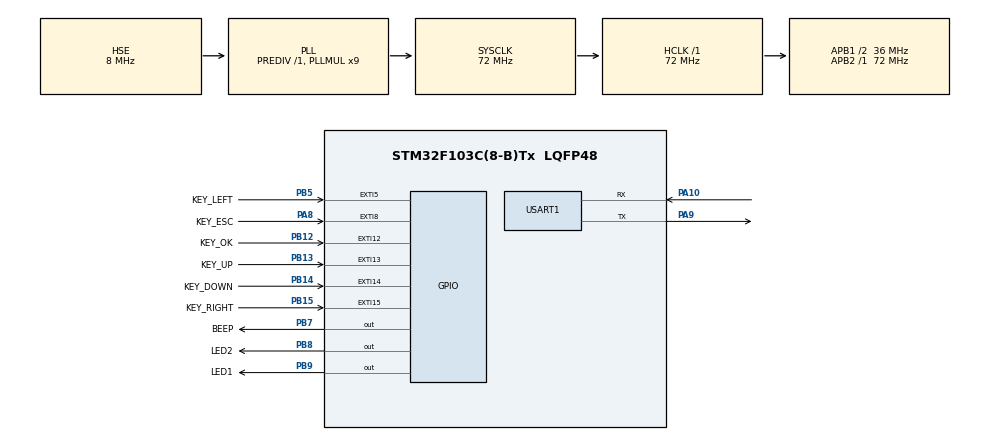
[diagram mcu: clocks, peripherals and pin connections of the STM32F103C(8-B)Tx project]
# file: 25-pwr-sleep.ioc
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Dma.Request0=USART1_RX
Dma.USART1_RX.0.Direction=DMA_PERIPH_TO_MEMORY
Dma.USART1_RX.0.Instance=DMA1_Channel5
Dma.USART1_RX.0.MemDataAlignment=DMA_MDATAALIGN_BYTE
Dma.USART1_RX.0.MemInc=DMA_MINC_ENABLE
Dma.USART1_RX.0.Mode=DMA_CIRCULAR
Dma.USART1_RX.0.PeriphDataAlignment=DMA_PDATAALIGN_BYTE
Dma.USART1_RX.0.PeriphInc=DMA_PINC_DISABLE
Dma.USART1_RX.0.Priority=DMA_PRIORITY_LOW
Mcu.Family=STM32F1
Mcu.Name=STM32F103C(8-B)Tx
Mcu.Package=LQFP48
NVIC.DMA1_Channel5_IRQn=true\:0\:0\:false\:false\:true\:false\:true\:true
NVIC.EXTI15_10_IRQn=true\:0\:0\:false\:false\:true\:true\:true\:true
NVIC.EXTI9_5_IRQn=true\:0\:0\:false\:false\:true\:true\:true\:true
NVIC.PriorityGroup=NVIC_PRIORITYGROUP_4
NVIC.USART1_IRQn=true\:0\:0\:false\:false\:true\:true\:true\:true
PA10.GPIO_PuPd=GPIO_PULLUP
PA10.Mode=Asynchronous
PA10.Signal=USART1_RX
PA8.GPIO_Label=KEY_ESC
PA8.GPIO_ModeDefaultEXTI=GPIO_MODE_IT_FALLING
PA8.GPIO_PuPd=GPIO_PULLUP
PA8.Signal=GPXTI8
PA9.Mode=Asynchronous
PA9.Signal=USART1_TX
PB12.GPIO_Label=KEY_OK
PB12.GPIO_ModeDefaultEXTI=GPIO_MODE_IT_FALLING
PB12.GPIO_PuPd=GPIO_PULLUP
PB12.Signal=GPXTI12
PB13.GPIO_Label=KEY_UP
PB13.GPIO_ModeDefaultEXTI=GPIO_MODE_IT_FALLING
PB13.GPIO_PuPd=GPIO_PULLUP
PB13.Signal=GPXTI13
PB14.GPIO_Label=KEY_DOWN
PB14.GPIO_ModeDefaultEXTI=GPIO_MODE_IT_FALLING
PB14.GPIO_PuPd=GPIO_PULLUP
PB14.Signal=GPXTI14
PB15.GPIO_Label=KEY_RIGHT
PB15.GPIO_ModeDefaultEXTI=GPIO_MODE_IT_FALLING
PB15.GPIO_PuPd=GPIO_PULLUP
PB15.Signal=GPXTI15
PB5.GPIO_Label=KEY_LEFT
PB5.GPIO_ModeDefaultEXTI=GPIO_MODE_IT_FALLING
PB5.GPIO_PuPd=GPIO_PULLUP
PB5.Signal=GPXTI5
PB7.GPIO_Label=BEEP
PB7.PinState=GPIO_PIN_SET
PB7.Signal=GPIO_Output
PB8.GPIO_Label=LED2
PB8.PinState=GPIO_PIN_SET
PB8.Signal=GPIO_Output
PB9.GPIO_Label=LED1
PB9.PinState=GPIO_PIN_SET
PB9.Signal=GPIO_Output
PD0-OSC_IN.Mode=HSE-External-Oscillator
PD0-OSC_IN.Signal=RCC_OSC_IN
PD1-OSC_OUT.Mode=HSE-External-Oscillator
PD1-OSC_OUT.Signal=RCC_OSC_OUT
ProjectManager.HeapSize=0x200
ProjectManager.StackSize=0x400
ProjectManager.TargetToolchain=MDK-ARM V5.32
RCC.AHBFreq_Value=72000000
RCC.APB1CLKDivider=RCC_HCLK_DIV2
RCC.APB1Freq_Value=36000000
RCC.APB1TimFreq_Value=72000000
RCC.APB2Freq_Value=72000000
RCC.APB2TimFreq_Value=72000000
RCC.HCLKFreq_Value=72000000
RCC.PLLMUL=RCC_PLL_MUL9
RCC.PLLSourceVirtual=RCC_PLLSOURCE_HSE
RCC.SYSCLKFreq_VALUE=72000000
RCC.SYSCLKSource=RCC_SYSCLKSOURCE_PLLCLK
RCC.USBFreq_Value=72000000
USART1.VirtualMode=VM_ASYNC
VP_SYS_VS_ND.Mode=No_Debug
board=custom

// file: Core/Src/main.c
/* USER CODE BEGIN Header */
/**
 ******************************************************************************
 * @file           : main.c
 * @brief          : Main program body
 ******************************************************************************
 * @attention
 *
 * Copyright (c) 2025 STMicroelectronics.
 * All rights reserved.
 *
 * This software is licensed under terms that can be found in the LICENSE file
 * in the root directory of this software component.
 * If no LICENSE file comes with this software, it is provided AS-IS.
 *
 ******************************************************************************
 */
/* USER CODE END Header */
#include "main.h"
#include "dma.h"
#include "usart.h"
#include "gpio.h"

/* USER CODE BEGIN Includes */
#include <stdio.h>
/* USER CODE END Includes */

void SystemClock_Config(void);

int main(void)
{

    /* MCU Configuration--------------------------------------------------------*/

    /* Reset of all peripherals, Initializes the Flash interface and the Systick. */
    HAL_Init();

    /* Configure the system clock */
    SystemClock_Config();

    /* Initialize all configured peripherals */
    MX_GPIO_Init();
    MX_DMA_Init();
    MX_USART1_UART_Init();
    /* USER CODE BEGIN 2 */
    __HAL_UART_ENABLE_IT(&huart1, UART_IT_IDLE); // 开启空闲中断
    HAL_UART_Receive_DMA(&huart1, Rx1_Buf, DMA_BUF_SIZE);
    printf("PWR TEST\r\n");
//    LED_control(LED1, ON);
//	HAL_GPIO_WritePin(GPIOB,GPIO_PIN_9,GPIO_PIN_RESET);

    /* USER CODE END 2 */

    /* Infinite loop */
    /* USER CODE BEGIN WHILE */
    while (1)
    {
        // LED_Test();
        // BEEP_Test();
        /* USER CODE END WHILE */

        /* USER CODE BEGIN 3 */

        // 使用LED1 指示灯, 指示系统正在运行
        LED_control(LED1, ON);  // LED1亮
        HAL_Delay(2000);        // 延时2秒
        LED_control(LED1, OFF); // LED1 灭
        printf("System is Running\n");
        // 使用 LED2指示, 系统进入睡眠模式
        LED_control(LED2, ON); // LED2 亮
        HAL_SuspendTick(); // 暂停 滴答定时器
        printf("System is sleeping\n");
        HAL_PWR_EnterSLEEPMode(PWR_MAINREGULATOR_ON, PWR_SLEEPENTRY_WFI); // 进入睡眠模式
        // 等待被唤醒 ....... , 可以按下6个按键中的任何一个即可唤醒, 最好按下ESC, 因为ESC默认动作时关闭蜂鸣器
        // 被唤醒后
		printf("System is wakeup\n");
        LED_control(LED2, OFF); // LED2 灭
        HAL_ResumeTick();       // 恢复滴答定时器的计时
    }
    /* USER CODE END 3 */
}

void SystemClock_Config(void)
{
    RCC_OscInitTypeDef RCC_OscInitStruct = {0};
    RCC_ClkInitTypeDef RCC_ClkInitStruct = {0};

    /** Initializes the RCC Oscillators according to the specified parameters
     * in the RCC_OscInitTypeDef structure.
     */
    RCC_OscInitStruct.OscillatorType = RCC_OSCILLATORTYPE_HSE;
    RCC_OscInitStruct.HSEState = RCC_HSE_ON;
    RCC_OscInitStruct.HSEPredivValue = RCC_HSE_PREDIV_DIV1;
    RCC_OscInitStruct.HSIState = RCC_HSI_ON;
    RCC_OscInitStruct.PLL.PLLState = RCC_PLL_ON;
    RCC_OscInitStruct.PLL.PLLSource = RCC_PLLSOURCE_HSE;
    RCC_OscInitStruct.PLL.PLLMUL = RCC_PLL_MUL9;
    if (HAL_RCC_OscConfig(&RCC_OscInitStruct) != HAL_OK)
    {
        Error_Handler();
    }

    /** Initializes the CPU, AHB and APB buses clocks
     */
    RCC_ClkInitStruct.ClockType = RCC_CLOCKTYPE_HCLK | RCC_CLOCKTYPE_SYSCLK | RCC_CLOCKTYPE_PCLK1 | RCC_CLOCKTYPE_PCLK2;
    RCC_ClkInitStruct.SYSCLKSource = RCC_SYSCLKSOURCE_PLLCLK;
    RCC_ClkInitStruct.AHBCLKDivider = RCC_SYSCLK_DIV1;
    RCC_ClkInitStruct.APB1CLKDivider = RCC_HCLK_DIV2;
    RCC_ClkInitStruct.APB2CLKDivider = RCC_HCLK_DIV1;

    if (HAL_RCC_ClockConfig(&RCC_ClkInitStruct, FLASH_LATENCY_2) != HAL_OK)
    {
        Error_Handler();
    }
}

void Error_Handler(void)
{
    __disable_irq();
    while (1)
    {
    }
}
